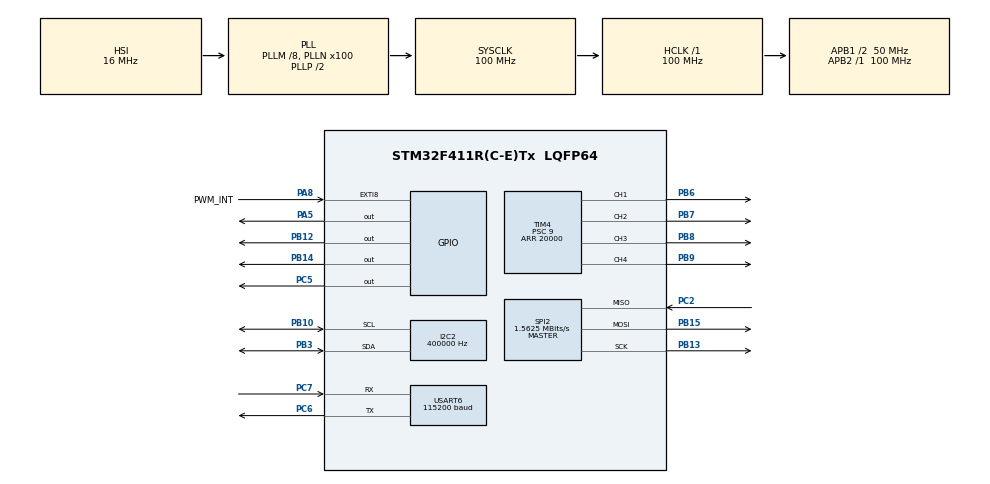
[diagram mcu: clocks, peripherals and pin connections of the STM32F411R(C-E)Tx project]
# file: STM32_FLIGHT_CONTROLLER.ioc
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FREERTOS.Mutexes01=GPSDataMutex,Dynamic,NULL;RFDataMutex,Dynamic,NULL
FREERTOS.Tasks01=ControlLoop,3,1024,StartControlLoop,Default,NULL,Dynamic,NULL,NULL;GPSUpdate,0,128,StartGPSUpdate,Default,NULL,Dynamic,NULL,NULL;NRF24,2,1024,StartNRF24,Default,NULL,Dynamic,NULL,NULL
I2C2.ClockSpeed=400000
I2C2.I2C_Mode=I2C_Fast
Mcu.Family=STM32F4
Mcu.Name=STM32F411R(C-E)Tx
Mcu.Package=LQFP64
NVIC.EXTI9_5_IRQn=true\:7\:0\:true\:false\:true\:true\:true\:true
NVIC.FLASH_IRQn=true\:11\:0\:true\:false\:true\:true\:true\:true
NVIC.I2C2_ER_IRQn=true\:6\:0\:true\:false\:true\:true\:true\:true
NVIC.I2C2_EV_IRQn=true\:6\:0\:true\:false\:true\:true\:true\:true
NVIC.PriorityGroup=NVIC_PRIORITYGROUP_4
NVIC.RCC_IRQn=true\:10\:0\:true\:false\:true\:true\:true\:false
NVIC.TIM1_UP_TIM10_IRQn=true\:0\:0\:false\:false\:true\:false\:false\:true
NVIC.TimeBase=TIM1_UP_TIM10_IRQn
NVIC.TimeBaseIP=TIM1
NVIC.USART6_IRQn=true\:11\:0\:true\:false\:true\:true\:true\:true
PA13.Mode=Serial_Wire
PA13.Signal=SYS_JTMS-SWDIO
PA14.Mode=Serial_Wire
PA14.Signal=SYS_JTCK-SWCLK
PA5.Signal=GPIO_Output
PA8.GPIO_Label=PWM_INT
PA8.GPIO_ModeDefaultEXTI=GPIO_MODE_IT_RISING
PA8.GPIO_PuPd=GPIO_NOPULL
PA8.Signal=GPXTI8
PB10.GPIO_Mode=GPIO_MODE_AF_OD
PB10.GPIO_PuPdOD=GPIO_PULLUP
PB10.GPIO_Speed=GPIO_SPEED_FREQ_VERY_HIGH
PB10.Mode=I2C
PB10.Signal=I2C2_SCL
PB12.GPIO_ModeDefaultOutputPP=GPIO_MODE_OUTPUT_PP
PB12.GPIO_PuPd=GPIO_NOPULL
PB12.GPIO_Speed=GPIO_SPEED_FREQ_HIGH
PB12.PinState=GPIO_PIN_RESET
PB12.Signal=GPIO_Output
PB13.Mode=Full_Duplex_Master
PB13.Signal=SPI2_SCK
PB14.GPIO_ModeDefaultOutputPP=GPIO_MODE_OUTPUT_PP
PB14.GPIO_PuPd=GPIO_NOPULL
PB14.GPIO_Speed=GPIO_SPEED_FREQ_HIGH
PB14.PinState=GPIO_PIN_RESET
PB14.Signal=GPIO_Output
PB15.Mode=Full_Duplex_Master
PB15.Signal=SPI2_MOSI
PB3.GPIO_Mode=GPIO_MODE_AF_OD
PB3.GPIO_PuPdOD=GPIO_PULLUP
PB3.GPIO_Speed=GPIO_SPEED_FREQ_VERY_HIGH
PB3.Mode=I2C
PB3.Signal=I2C2_SDA
PB6.GPIO_ModeDefaultPP=GPIO_MODE_AF_PP
PB6.GPIO_PuPd=GPIO_NOPULL
PB6.GPIO_Speed=GPIO_SPEED_FREQ_LOW
PB6.Signal=S_TIM4_CH1
PB7.GPIO_ModeDefaultPP=GPIO_MODE_AF_PP
PB7.GPIO_PuPd=GPIO_NOPULL
PB7.GPIO_Speed=GPIO_SPEED_FREQ_LOW
PB7.Signal=S_TIM4_CH2
PB8.GPIO_ModeDefaultPP=GPIO_MODE_AF_PP
PB8.GPIO_PuPd=GPIO_NOPULL
PB8.GPIO_Speed=GPIO_SPEED_FREQ_LOW
PB8.Signal=S_TIM4_CH3
PB9.Signal=S_TIM4_CH4
PC2.Mode=Full_Duplex_Master
PC2.Signal=SPI2_MISO
PC5.GPIO_ModeDefaultOutputPP=GPIO_MODE_OUTPUT_PP
PC5.GPIO_PuPd=GPIO_NOPULL
PC5.GPIO_Speed=GPIO_SPEED_FREQ_HIGH
PC5.PinState=GPIO_PIN_RESET
PC5.Signal=GPIO_Output
PC6.Mode=Asynchronous
PC6.Signal=USART6_TX
PC7.Mode=Asynchronous
PC7.Signal=USART6_RX
ProjectManager.HeapSize=0x200
ProjectManager.StackSize=0x400
ProjectManager.TargetToolchain=STM32CubeIDE
RCC.48MHZClocksFreq_Value=50000000
RCC.AHBFreq_Value=100000000
RCC.APB1CLKDivider=RCC_HCLK_DIV2
RCC.APB1Freq_Value=50000000
RCC.APB1TimFreq_Value=100000000
RCC.APB2Freq_Value=100000000
RCC.APB2TimFreq_Value=100000000
RCC.CortexFreq_Value=100000000
RCC.FLatency-AdvancedSettings=FLASH_LATENCY_3
RCC.HCLKFreq_Value=100000000
RCC.HSE_VALUE=8000000
RCC.HSI_VALUE=16000000
RCC.LSE_VALUE=32768
RCC.PLLM=8
RCC.PLLN=100
RCC.SYSCLKFreq_VALUE=100000000
RCC.SYSCLKSource=RCC_SYSCLKSOURCE_PLLCLK
RCC.VCOOutputFreq_Value=200000000
SH.S_TIM4_CH1.0=TIM4_CH1,PWM Generation1 CH1
SH.S_TIM4_CH2.0=TIM4_CH2,PWM Generation2 CH2
SH.S_TIM4_CH3.0=TIM4_CH3,PWM Generation3 CH3
SH.S_TIM4_CH4.0=TIM4_CH4,PWM Generation4 CH4
SPI2.BaudRatePrescaler=SPI_BAUDRATEPRESCALER_32
SPI2.CRCCalculation=SPI_CRCCALCULATION_DISABLE
SPI2.CalculateBaudRate=1.5625 MBits/s
SPI2.Direction=SPI_DIRECTION_2LINES
SPI2.Mode=SPI_MODE_MASTER
SPI2.VirtualType=VM_MASTER
TIM10.Period=1000
TIM10.Prescaler=10000
TIM11.Period=65535
TIM11.Prescaler=100
TIM4.Channel-PWM\ Generation1\ CH1=TIM_CHANNEL_1
TIM4.Channel-PWM\ Generation2\ CH2=TIM_CHANNEL_2
TIM4.Channel-PWM\ Generation3\ CH3=TIM_CHANNEL_3
TIM4.Channel-PWM\ Generation4\ CH4=TIM_CHANNEL_4
TIM4.OCFastMode_PWM-PWM\ Generation1\ CH1=TIM_OCFAST_ENABLE
TIM4.OCFastMode_PWM-PWM\ Generation2\ CH2=TIM_OCFAST_ENABLE
TIM4.OCFastMode_PWM-PWM\ Generation3\ CH3=TIM_OCFAST_ENABLE
TIM4.OCFastMode_PWM-PWM\ Generation4\ CH4=TIM_OCFAST_ENABLE
TIM4.Period=20000
TIM4.Prescaler=9
TIM4.Pulse-PWM\ Generation1\ CH1=0
TIM4.Pulse-PWM\ Generation2\ CH2=0
TIM4.Pulse-PWM\ Generation3\ CH3=0
USART6.BaudRate=115200
USART6.Mode=MODE_TX
USART6.VirtualMode=VM_ASYNC
VP_CRC_VS_CRC.Mode=CRC_Activate
VP_FREERTOS_VS_CMSIS_V1.Mode=CMSIS_V1
VP_SYS_VS_tim1.Mode=TIM1
VP_TIM10_VS_ClockSourceINT.Mode=Enable_Timer
VP_TIM11_VS_ClockSourceINT.Mode=Enable_Timer
board=NUCLEO-F411RE

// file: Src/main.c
/* USER CODE BEGIN Header */
/**
 ******************************************************************************
 * @file           : main.c
 * @brief          : Main program body
 ******************************************************************************
 * @attention
 *
 * STM32F411RE Flight Controller Main file.
 * Nicholas Savva, 2019.
 *
 * <h2><center>&copy; Copyright (c) 2019 STMicroelectronics.
 * All rights reserved.</center></h2>
 *
 * This software component is licensed by ST under BSD 3-Clause license,
 * the "License"; You may not use this file except in compliance with the
 * License. You may obtain a copy of the License at:
 *                        opensource.org/licenses/BSD-3-Clause
 *
 ******************************************************************************
 */
/* USER CODE END Header */

#include "main.h"
#include "cmsis_os.h"
#include "crc.h"
#include "i2c.h"
#include "spi.h"
#include "tim.h"
#include "usart.h"
#include "gpio.h"

void SystemClock_Config(void);
void MX_FREERTOS_Init(void);
/* USER CODE BEGIN PFP */

void ARM_ESCs();

void pulse_posedge_handler();

void print_data_to_pc();
void update_PID_values();

int __io_putchar(int ch);
int _write(int file, char *ptr, int len);

void HAL_GPIO_EXTI_Callback(uint16_t GPIO_Pin);
void HAL_TIM_IC_CaptureCallback(TIM_HandleTypeDef *htim);
void HAL_TIM_PeriodElapsedCallback(TIM_HandleTypeDef *htim);
void printToPC();

unsigned int new_conversion_processing(unsigned int new_data);

/* USER CODE END PFP */

int main(void)
{

  /* MCU Configuration--------------------------------------------------------*/

  /* Reset of all peripherals, Initializes the Flash interface and the Systick. */
  HAL_Init();

  /* Configure the system clock */
  SystemClock_Config();

  /* Initialize all configured peripherals */
  MX_GPIO_Init();
  MX_I2C2_Init();
  MX_TIM4_Init();
  MX_SPI2_Init();
  MX_CRC_Init();
  MX_TIM11_Init();
  MX_USART6_UART_Init();
  MX_TIM10_Init();
  /* USER CODE BEGIN 2 */

	/////////////////////////////////////////////////////////////////
	/////////////////////////////// GPS /////////////////////////////
	/////////////////////////////////////////////////////////////////

  //vTraceEnable(TRC_INIT);

  /* USER CODE END 2 */

  /* Call init function for freertos objects (in freertos.c) */
  MX_FREERTOS_Init();

  /* Start scheduler */
  osKernelStart();

  /* We should never get here as control is now taken by the scheduler */

  /* Infinite loop */
  /* USER CODE BEGIN WHILE */
	while (1) {

//		}

    /* USER CODE END WHILE */

	}
}

void SystemClock_Config(void)
{
  RCC_OscInitTypeDef RCC_OscInitStruct = {0};
  RCC_ClkInitTypeDef RCC_ClkInitStruct = {0};

  /** Configure the main internal regulator output voltage
  */
  __HAL_RCC_PWR_CLK_ENABLE();
  __HAL_PWR_VOLTAGESCALING_CONFIG(PWR_REGULATOR_VOLTAGE_SCALE1);
  /** Initializes the CPU, AHB and APB busses clocks
  */
  RCC_OscInitStruct.OscillatorType = RCC_OSCILLATORTYPE_HSI;
  RCC_OscInitStruct.HSIState = RCC_HSI_ON;
  RCC_OscInitStruct.HSICalibrationValue = RCC_HSICALIBRATION_DEFAULT;
  RCC_OscInitStruct.PLL.PLLState = RCC_PLL_ON;
  RCC_OscInitStruct.PLL.PLLSource = RCC_PLLSOURCE_HSI;
  RCC_OscInitStruct.PLL.PLLM = 8;
  RCC_OscInitStruct.PLL.PLLN = 100;
  RCC_OscInitStruct.PLL.PLLP = RCC_PLLP_DIV2;
  RCC_OscInitStruct.PLL.PLLQ = 4;
  if (HAL_RCC_OscConfig(&RCC_OscInitStruct) != HAL_OK)
  {
    Error_Handler();
  }
  /** Initializes the CPU, AHB and APB busses clocks
  */
  RCC_ClkInitStruct.ClockType = RCC_CLOCKTYPE_HCLK|RCC_CLOCKTYPE_SYSCLK
                              |RCC_CLOCKTYPE_PCLK1|RCC_CLOCKTYPE_PCLK2;
  RCC_ClkInitStruct.SYSCLKSource = RCC_SYSCLKSOURCE_PLLCLK;
  RCC_ClkInitStruct.AHBCLKDivider = RCC_SYSCLK_DIV1;
  RCC_ClkInitStruct.APB1CLKDivider = RCC_HCLK_DIV2;
  RCC_ClkInitStruct.APB2CLKDivider = RCC_HCLK_DIV1;

  if (HAL_RCC_ClockConfig(&RCC_ClkInitStruct, FLASH_LATENCY_3) != HAL_OK)
  {
    Error_Handler();
  }
}

/* USER CODE BEGIN 4 */

//void ARM_ESCs() {
//
//	HAL_Delay(2000); //Wait
//
//	int delay_time = 8000;
//
//	PWM1_Set(ESC_MAX); //Send max value (250us pulse)
//	PWM2_Set(ESC_MAX); //Send max value (250us pulse)
//	PWM3_Set(ESC_MAX); //Send max value (250us pulse)
//	PWM4_Set(ESC_MAX); //Send max value (250us pulse)
//
//	//Try setting a breakpoint here and switching on PWR supply here??
//	//ESC needs a high signal switched on
//
//	HAL_Delay(delay_time); //Wait
//
//	PWM1_Set(ESC_MIN); //Send lowest value (125us pulse)
//	PWM2_Set(ESC_MIN); //Send lowest value (125us pulse)
//	PWM3_Set(ESC_MIN); //Send lowest value (125us pulse)
//	PWM4_Set(ESC_MIN); //Send lowest value (125us pulse)
//
//	HAL_Delay(delay_time); //Wait
//
//}

int divider = 0;

#if BATTERY
void HAL_ADC_ConvCpltCallback(ADC_HandleTypeDef* hadc) {

	batteryLevel = HAL_ADC_GetValue(&hadc1);

	//Simple exponential moving average filter where alpha = 2/(N+1)

	float alpha = 0.10;
	avgBatteryLevel = alpha * batteryLevel + (1 - alpha) * lastAvgBatteryLevel;
	lastAvgBatteryLevel = avgBatteryLevel;

	if (N > 20) {
		//Shut off PWM when battery level too low
		if (avgBatteryLevel < ADC_BATTERY_SHUTOFF) {
			kill();
		}
	} else {
		N++;
	}
}

#endif
/* USER CODE END 4 */

void HAL_TIM_PeriodElapsedCallback(TIM_HandleTypeDef *htim)
{
  if (htim->Instance == TIM1) {
    HAL_IncTick();
  }
}

void Error_Handler(void)
{
}

/************************ (C) COPYRIGHT STMicroelectronics *****END OF FILE****/

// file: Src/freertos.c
/* USER CODE BEGIN Header */
/**
 ******************************************************************************
 * File Name          : freertos.c
 * Description        : Code for freertos applications
 ******************************************************************************
 * @attention
 *
 * <h2><center>&copy; Copyright (c) 2019 STMicroelectronics.
 * All rights reserved.</center></h2>
 *
 * This software component is licensed by ST under Ultimate Liberty license
 * SLA0044, the "License"; You may not use this file except in compliance with
 * the License. You may obtain a copy of the License at:
 *                             www.st.com/SLA0044
 *
 ******************************************************************************
 */
/* USER CODE END Header */

#include "FreeRTOS.h"
#include "task.h"
#include "main.h"
#include "cmsis_os.h"

/* USER CODE BEGIN Includes */

#include "../Drivers/GPS.h"
#include  "controlLoop.h"
#include "RF_Comms.h"

/* USER CODE END Includes */

/* USER CODE BEGIN PD */

/** For debugging and tuning PID control, data storage buffer for
 *  printing afterwards to evaluate system response, can comment out later to save RAM
 *  if needed (approx 20kB needed?)
 */
#define PID_TUNE_DEBUG 0

#if PID_TUNE_DEBUG

#define SAMPLES 5000

float PID_print_buffer[SAMPLES];
float IMU_print_buffer[SAMPLES];
int print_buffer_index = 0;

#endif

//////////////////////////////////// Peripheral defines  //////////////////////////////

//1 if using battery
#define BATTERY 0

//1 if using GPS module
#define GPS 0

//Enable ONLY 1 of the two below
//1 if using IMU (Kris winer MBED Library, fusion algorithm on MCU)
#define IMU 1

#define UART_DEBUG 0

struct TxRxVars {

	bool airmode;
	uint16_t throttle;
	float pitch_setpoint;
	float roll_setpoint;
	float yaw_setpoint;
	float roll;
	float pitch;
	float yaw;

};
struct TxRxVars TxRx;

xQueueHandle RadioData_To_CL_Queue = 0;

/* USER CODE END PD */

/* USER CODE BEGIN Variables */

xSemaphoreHandle PWM_Sem;

/* USER CODE END Variables */
osThreadId ControlLoopHandle;
osThreadId GPSUpdateHandle;
osThreadId NRF24Handle;
osMutexId GPSDataMutexHandle;
osMutexId RFDataMutexHandle;

void StartControlLoop(void const * argument);
void StartGPSUpdate(void const * argument);
void StartNRF24(void const * argument);

void MX_FREERTOS_Init(void); /* (MISRA C 2004 rule 8.1) */

/* GetIdleTaskMemory prototype (linked to static allocation support) */
void vApplicationGetIdleTaskMemory( StaticTask_t **ppxIdleTaskTCBBuffer, StackType_t **ppxIdleTaskStackBuffer, uint32_t *pulIdleTaskStackSize );

/* USER CODE BEGIN GET_IDLE_TASK_MEMORY */
static StaticTask_t xIdleTaskTCBBuffer;
static StackType_t xIdleStack[configMINIMAL_STACK_SIZE];

void vApplicationGetIdleTaskMemory(StaticTask_t **ppxIdleTaskTCBBuffer,
		StackType_t **ppxIdleTaskStackBuffer, uint32_t *pulIdleTaskStackSize) {
	*ppxIdleTaskTCBBuffer = &xIdleTaskTCBBuffer;
	*ppxIdleTaskStackBuffer = &xIdleStack[0];
	*pulIdleTaskStackSize = configMINIMAL_STACK_SIZE;
	/* place for user code */
}
/* USER CODE END GET_IDLE_TASK_MEMORY */

void MX_FREERTOS_Init(void) {

  /* Create the mutex(es) */
  /* definition and creation of GPSDataMutex */
  osMutexDef(GPSDataMutex);
  GPSDataMutexHandle = osMutexCreate(osMutex(GPSDataMutex));

  /* definition and creation of RFDataMutex */
  osMutexDef(RFDataMutex);
  RFDataMutexHandle = osMutexCreate(osMutex(RFDataMutex));

  /* USER CODE BEGIN RTOS_SEMAPHORES */
	/* add semaphores, ... */
	vSemaphoreCreateBinary(PWM_Sem);
  /* USER CODE END RTOS_SEMAPHORES */

  /* USER CODE BEGIN RTOS_QUEUES */
	/* add queues, ... */
	RadioData_To_CL_Queue = xQueueCreate(8, sizeof(struct TxRxVars));
  /* USER CODE END RTOS_QUEUES */

  /* Create the thread(s) */
  /* definition and creation of ControlLoop */
  osThreadDef(ControlLoop, StartControlLoop, osPriorityRealtime, 0, 1024);
  ControlLoopHandle = osThreadCreate(osThread(ControlLoop), NULL);

  /* definition and creation of GPSUpdate */
  osThreadDef(GPSUpdate, StartGPSUpdate, osPriorityNormal, 0, 128);
  GPSUpdateHandle = osThreadCreate(osThread(GPSUpdate), NULL);

  /* definition and creation of NRF24 */
  osThreadDef(NRF24, StartNRF24, osPriorityHigh, 0, 1024);
  NRF24Handle = osThreadCreate(osThread(NRF24), NULL);

}

void StartControlLoop(void const * argument)
{
  /* USER CODE BEGIN StartControlLoop */

	CL_init();
	//HAL_TIM_Base_Start(&htim10);
	xSemaphoreGiveFromISR(PWM_Sem, NULL);

	/* Infinite loop */
	for (;;) {

		main_loop = 1;

		if (xSemaphoreTake(PWM_Sem, portMAX_DELAY)) {

			//xQueueReceive(RadioData_To_CL_Queue, &(TxRx), 1);

			xSemaphoreTake(RFDataMutexHandle, portMAX_DELAY);
			CL_main(TxRx.airmode, TxRx.throttle, TxRx.pitch_setpoint,
					TxRx.roll_setpoint, TxRx.yaw_setpoint, &TxRx.roll,
					&TxRx.pitch, &TxRx.yaw);
			xSemaphoreGive(RFDataMutexHandle);
		}

		//2ms = 500Hz rate
		osDelay(2);
	}
  /* USER CODE END StartControlLoop */
}

void StartGPSUpdate(void const * argument)
{
  /* USER CODE BEGIN StartGPSUpdate */

#if GPS

	GPS_init();

#endif

	/* Infinite loop */
	for (;;) {
		osDelay(10);
	}
  /* USER CODE END StartGPSUpdate */
}

void StartNRF24(void const * argument)
{
  /* USER CODE BEGIN StartNRF24 */
	RF_init();
	/* Infinite loop */
	for (;;) {

		xSemaphoreTake(RFDataMutexHandle, portMAX_DELAY);
		RF_TxRx(&TxRx.airmode, &TxRx.throttle, &TxRx.pitch_setpoint,
				&TxRx.roll_setpoint, &TxRx.yaw_setpoint, TxRx.roll, TxRx.pitch,
				TxRx.yaw);

		//xQueueSend(RadioData_To_CL_Queue, (void * ) &TxRx, 1);
	    xSemaphoreGive(RFDataMutexHandle);
		}
  /* USER CODE END StartNRF24 */
}

/* USER CODE BEGIN Application */

#if UART_DEBUG

/*
 *	Some functions to allow the program to use printf,
 *	from http://www.emcu.eu/how-to-implement-printf-for-send-message-via-usb-on-stm32-nucleo-boards-using-atollic/
 *
 */
int __io_putchar(int ch) {
	uint8_t c[1];
	c[0] = ch & 0x00FF;

	HAL_UART_Transmit(&huart6, &*c, 1, 10);
	return ch;
}

int _write(int file, char *ptr, int len) {
	int DataIdx;
	for (DataIdx = 0; DataIdx < len; DataIdx++) {
		__io_putchar(*ptr++);
	}
	return len;
}
#endif
void printToPC() {
#if PID_TUNE_DEBUG
	//After n number of samples logged into buffer, print out to PC
	/* Set a breakpoint here */
	/** Print data to PC **/
	for (int i = 0; i < SAMPLES; ++i) {

		printf("%f,%f\r\n", PID_print_buffer[i],IMU_print_buffer[i]);

	}

	print_buffer_index = 0;
	/* Set another breakpoint here */

#endif
}

//////GPIO interrupt callback
void HAL_GPIO_EXTI_Callback(uint16_t GPIO_Pin) {

	//GPIO pin configured to capture rising edge interrupt of PWM signals
	if (GPIO_Pin == PWM_INT_Pin && main_loop) {

		xSemaphoreGiveFromISR(PWM_Sem, NULL);
		//HAL_GPIO_TogglePin(GPIOC, GPIO_PIN_3);

		//HAL_GPIO_TogglePin(GPIOC, GPIO_PIN_3);
	}

	//	if (GPIO_Pin == kill_Pin && main_loop) {
	//		//kill();
	//	}

}

#if GPS

//////	Implementation of output compare elapsed callback for Timer 3.
//////	As explained at top of code this will trigger when TIM3 OC has reached it's max counter value.
//////	This is configured to happen each time the GPS module data has been fully sent (DMA timeout for UART 6)
//void HAL_TIM_OC_DelayElapsedCallback(TIM_HandleTypeDef *htim) {
//
//		//GPS Data UART Transmission complete
//		if (htim->Instance == TIM3) {
//
//			//Stop the DMA transfer as we know have reached end of message
//			HAL_UART_DMAStop(&huart6);
//
//			//First buffer received will probably be somewhere in the middle of a message so discard it
//			if(discard){
//				discard = 0;
//			}else{
//				//Parse the received data
//				GPS_parse_data();
//			}
//
//			//Begin receiving again
//			HAL_UART_Receive_DMA(&huart6, GPS_RX_Buffer, 600);
//
//			//HAL_GPIO_TogglePin(GPIOC, GPIO_PIN_3);
//		}
//
//}

#endif

/* USER CODE END Application */

/************************ (C) COPYRIGHT STMicroelectronics *****END OF FILE****/
